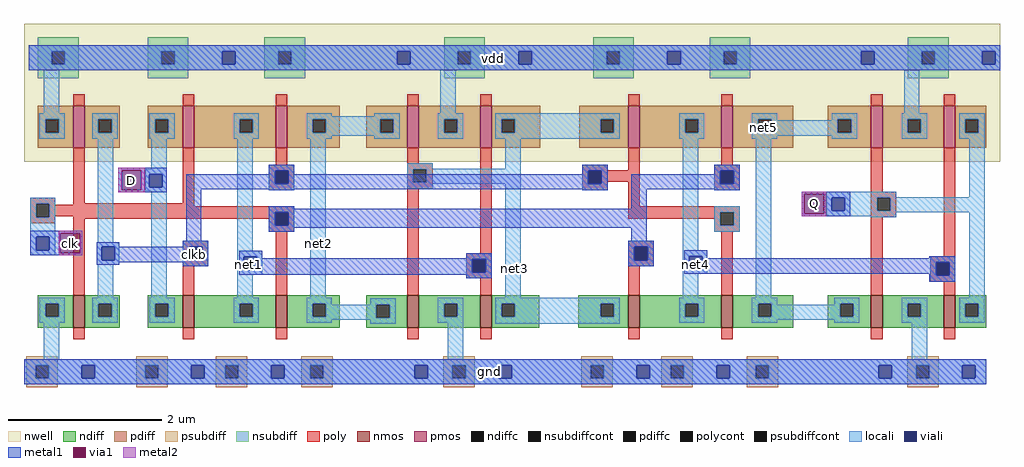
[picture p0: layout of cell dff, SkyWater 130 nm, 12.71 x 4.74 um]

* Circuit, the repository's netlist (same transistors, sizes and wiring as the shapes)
DFF
.lib "../../sky130_fd_pr/models/sky130.lib.spice" tt

XM1 clkb clk vdd vdd sky130_fd_pr__pfet_01v8 L=0.15 W=0.55
XM2 clkb clk gnd gnd sky130_fd_pr__nfet_01v8 L=0.15 W=0.42
XM3 1 clk D vdd sky130_fd_pr__pfet_01v8 L=0.15 W=0.55
XM4 1 clkb D gnd sky130_fd_pr__nfet_01v8 L=0.15 W=0.42 
XM5 2 1 vdd vdd sky130_fd_pr__pfet_01v8 L=0.15 W=0.55
XM6 2 1 gnd gnd sky130_fd_pr__nfet_01v8 L=0.15 W=0.42
XM7 3 2 vdd vdd sky130_fd_pr__pfet_01v8 L=0.15 W=0.55
XM8 3 2 gnd gnd sky130_fd_pr__nfet_01v8 L=0.15 W=0.42
XM9 1 clkb 3 vdd sky130_fd_pr__pfet_01v8 L=0.15 W=0.55
XM10 1 clk 3 gnd sky130_fd_pr__nfet_01v8 L=0.15 W=0.42
XM11 4 clkb 2 vdd sky130_fd_pr__pfet_01v8 L=0.15 W=0.55
XM12 4 clk 2 gnd sky130_fd_pr__nfet_01v8 L=0.15 W=0.42
XM13 Q 4 vdd vdd sky130_fd_pr__pfet_01v8 L=0.15 W=0.55
XM14 Q 4 gnd gnd sky130_fd_pr__nfet_01v8 L=0.15 W=0.42
XM15 5 Q vdd vdd sky130_fd_pr__pfet_01v8 L=0.15 W=0.55
XM16 5 Q gnd gnd sky130_fd_pr__nfet_01v8 L=0.15 W=0.42
XM17 4 clk 5 vdd sky130_fd_pr__pfet_01v8 L=0.15 W=0.55
XM18 4 clkb 5 gnd sky130_fd_pr__nfet_01v8 L=0.15 W=0.42

V1 vdd gnd dc 1.8V
V2 D gnd pulse 0 1.8 2.5ns 60ps 60ps 15ns 30ns
V3 clk gnd pulse 0 1.8 0 60ps 60ps 5ns 10ns

.tran 0.1ns 100ns
.control 
run
plot V(Q) V(D)+2 V(clk)+4
.endc
.end

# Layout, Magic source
magic
tech sky130A
<< nwell >>
rect 0 273 1271 453
<< nmos >>
rect 64 57 79 99
rect 207 57 222 99
rect 328 57 343 99
rect 499 57 514 99
rect 594 57 609 99
rect 787 57 802 99
rect 908 57 923 99
rect 1103 57 1118 99
rect 1198 57 1213 99
<< pmos >>
rect 64 291 79 346
rect 207 291 222 346
rect 328 291 343 346
rect 499 291 514 346
rect 594 291 609 346
rect 787 291 802 346
rect 908 291 923 346
rect 1103 291 1118 346
rect 1198 291 1213 346
<< ndiff >>
rect 18 88 64 99
rect 18 71 28 88
rect 45 71 64 88
rect 18 57 64 71
rect 79 88 125 99
rect 79 71 97 88
rect 114 71 125 88
rect 79 57 125 71
rect 161 88 207 99
rect 161 71 171 88
rect 188 71 207 88
rect 161 57 207 71
rect 222 88 328 99
rect 222 71 281 88
rect 298 71 328 88
rect 222 57 328 71
rect 343 88 411 99
rect 343 71 376 88
rect 393 71 411 88
rect 343 57 411 71
rect 446 87 499 99
rect 446 70 459 87
rect 476 70 499 87
rect 446 57 499 70
rect 514 88 594 99
rect 514 71 547 88
rect 564 71 594 88
rect 514 57 594 71
rect 609 88 671 99
rect 609 71 622 88
rect 639 71 671 88
rect 609 57 671 71
rect 722 88 787 99
rect 722 71 751 88
rect 768 71 787 88
rect 722 57 787 71
rect 802 88 908 99
rect 802 71 861 88
rect 878 71 908 88
rect 802 57 908 71
rect 923 88 1002 99
rect 923 71 956 88
rect 973 71 1002 88
rect 923 57 1002 71
rect 1047 88 1103 99
rect 1047 71 1063 88
rect 1080 71 1103 88
rect 1047 57 1103 71
rect 1118 88 1198 99
rect 1118 71 1151 88
rect 1168 71 1198 88
rect 1118 57 1198 71
rect 1213 88 1253 99
rect 1213 71 1226 88
rect 1243 71 1253 88
rect 1213 57 1253 71
<< pdiff >>
rect 18 328 64 346
rect 18 311 28 328
rect 45 311 64 328
rect 18 291 64 311
rect 79 328 125 346
rect 79 311 97 328
rect 114 311 125 328
rect 79 291 125 311
rect 161 328 207 346
rect 161 311 171 328
rect 188 311 207 328
rect 161 291 207 311
rect 222 328 328 346
rect 222 311 281 328
rect 298 311 328 328
rect 222 291 328 311
rect 343 328 411 346
rect 343 311 376 328
rect 393 311 411 328
rect 343 291 411 311
rect 446 328 499 346
rect 446 311 464 328
rect 481 311 499 328
rect 446 291 499 311
rect 514 328 594 346
rect 514 311 547 328
rect 564 311 594 328
rect 514 291 594 311
rect 609 328 672 346
rect 609 311 622 328
rect 639 311 672 328
rect 609 291 672 311
rect 723 328 787 346
rect 723 311 751 328
rect 768 311 787 328
rect 723 291 787 311
rect 802 328 908 346
rect 802 311 861 328
rect 878 311 908 328
rect 802 291 908 311
rect 923 328 1002 346
rect 923 311 956 328
rect 973 311 1002 328
rect 923 291 1002 311
rect 1047 328 1103 346
rect 1047 311 1060 328
rect 1077 311 1103 328
rect 1047 291 1103 311
rect 1118 328 1198 346
rect 1118 311 1151 328
rect 1168 311 1198 328
rect 1118 291 1198 311
rect 1213 328 1253 346
rect 1213 311 1226 328
rect 1243 311 1253 328
rect 1213 291 1253 311
<< ndiffc >>
rect 28 71 45 88
rect 97 71 114 88
rect 171 71 188 88
rect 281 71 298 88
rect 376 71 393 88
rect 459 70 476 87
rect 547 71 564 88
rect 622 71 639 88
rect 751 71 768 88
rect 861 71 878 88
rect 956 71 973 88
rect 1063 71 1080 88
rect 1151 71 1168 88
rect 1226 71 1243 88
<< pdiffc >>
rect 28 311 45 328
rect 97 311 114 328
rect 171 311 188 328
rect 281 311 298 328
rect 376 311 393 328
rect 464 311 481 328
rect 547 311 564 328
rect 622 311 639 328
rect 751 311 768 328
rect 861 311 878 328
rect 956 311 973 328
rect 1060 311 1077 328
rect 1151 311 1168 328
rect 1226 311 1243 328
<< psubdiff >>
rect 3 8 44 20
rect 3 -9 15 8
rect 32 -9 44 8
rect 3 -21 44 -9
rect 146 8 187 20
rect 146 -9 158 8
rect 175 -9 187 8
rect 146 -21 187 -9
rect 250 8 291 20
rect 250 -9 262 8
rect 279 -9 291 8
rect 250 -21 291 -9
rect 361 8 402 20
rect 361 -9 373 8
rect 390 -9 402 8
rect 361 -21 402 -9
rect 546 8 587 20
rect 546 -9 558 8
rect 575 -9 587 8
rect 546 -21 587 -9
rect 726 8 767 20
rect 726 -9 738 8
rect 755 -9 767 8
rect 726 -21 767 -9
rect 830 8 871 20
rect 830 -9 842 8
rect 859 -9 871 8
rect 830 -21 871 -9
rect 941 8 982 20
rect 941 -9 953 8
rect 970 -9 982 8
rect 941 -21 982 -9
rect 1150 8 1191 20
rect 1150 -9 1162 8
rect 1179 -9 1191 8
rect 1150 -21 1191 -9
<< nsubdiff >>
rect 18 417 71 435
rect 18 400 36 417
rect 53 400 71 417
rect 18 382 71 400
rect 161 417 214 435
rect 161 400 179 417
rect 196 400 214 417
rect 161 382 214 400
rect 313 417 366 435
rect 313 400 331 417
rect 348 400 366 417
rect 313 382 366 400
rect 547 417 600 435
rect 547 400 565 417
rect 582 400 600 417
rect 547 382 600 400
rect 741 417 794 435
rect 741 400 759 417
rect 776 400 794 417
rect 741 382 794 400
rect 893 417 946 435
rect 893 400 911 417
rect 928 400 946 417
rect 893 382 946 400
rect 1151 417 1204 435
rect 1151 400 1169 417
rect 1186 400 1204 417
rect 1151 382 1204 400
<< psubdiffcont >>
rect 15 -9 32 8
rect 158 -9 175 8
rect 262 -9 279 8
rect 373 -9 390 8
rect 558 -9 575 8
rect 738 -9 755 8
rect 842 -9 859 8
rect 953 -9 970 8
rect 1162 -9 1179 8
<< nsubdiffcont >>
rect 36 400 53 417
rect 179 400 196 417
rect 331 400 348 417
rect 565 400 582 417
rect 759 400 776 417
rect 911 400 928 417
rect 1169 400 1186 417
<< poly >>
rect 64 346 79 361
rect 207 346 222 361
rect 328 346 343 361
rect 499 346 514 361
rect 594 346 609 361
rect 787 346 802 361
rect 908 346 923 361
rect 1103 346 1118 361
rect 1198 346 1213 361
rect 8 218 41 226
rect 8 201 16 218
rect 33 217 41 218
rect 64 219 79 291
rect 207 219 222 291
rect 328 269 343 291
rect 499 271 514 291
rect 319 261 352 269
rect 319 244 327 261
rect 344 244 352 261
rect 319 236 352 244
rect 499 263 532 271
rect 499 246 507 263
rect 524 246 532 263
rect 499 238 532 246
rect 64 217 222 219
rect 33 215 222 217
rect 33 207 352 215
rect 33 202 327 207
rect 33 201 41 202
rect 8 193 41 201
rect 64 199 327 202
rect 64 99 79 199
rect 319 190 327 199
rect 344 190 352 207
rect 319 182 352 190
rect 207 162 240 170
rect 207 145 215 162
rect 232 145 240 162
rect 207 137 240 145
rect 207 99 222 137
rect 328 99 343 182
rect 499 99 514 238
rect 594 154 609 291
rect 727 262 760 269
rect 787 262 802 291
rect 908 269 923 291
rect 727 261 802 262
rect 727 244 735 261
rect 752 247 802 261
rect 752 244 760 247
rect 727 236 760 244
rect 787 215 802 247
rect 899 261 932 269
rect 899 244 907 261
rect 924 244 932 261
rect 899 236 932 244
rect 1103 234 1118 291
rect 1103 226 1136 234
rect 787 207 932 215
rect 787 199 907 207
rect 899 190 907 199
rect 924 190 932 207
rect 899 182 932 190
rect 1103 209 1111 226
rect 1128 209 1136 226
rect 1103 201 1136 209
rect 576 146 609 154
rect 576 129 584 146
rect 601 129 609 146
rect 576 121 609 129
rect 594 99 609 121
rect 787 162 820 170
rect 787 145 795 162
rect 812 145 820 162
rect 787 137 820 145
rect 787 99 802 137
rect 908 99 923 182
rect 1103 99 1118 201
rect 1198 150 1213 291
rect 1180 142 1213 150
rect 1180 125 1188 142
rect 1205 125 1213 142
rect 1180 117 1213 125
rect 1198 99 1213 117
rect 64 42 79 57
rect 207 42 222 57
rect 328 42 343 57
rect 499 42 514 57
rect 594 42 609 57
rect 787 42 802 57
rect 908 42 923 57
rect 1103 42 1118 57
rect 1198 42 1213 57
<< polycont >>
rect 16 201 33 218
rect 327 244 344 261
rect 507 246 524 263
rect 327 190 344 207
rect 215 145 232 162
rect 735 244 752 261
rect 907 244 924 261
rect 907 190 924 207
rect 1111 209 1128 226
rect 584 129 601 146
rect 795 145 812 162
rect 1188 125 1205 142
<< locali >>
rect 6 417 1271 425
rect 6 400 36 417
rect 53 400 179 417
rect 196 400 258 417
rect 275 400 331 417
rect 348 400 486 417
rect 503 400 565 417
rect 582 400 644 417
rect 661 400 759 417
rect 776 400 838 417
rect 855 400 911 417
rect 928 400 1090 417
rect 1107 400 1169 417
rect 1186 400 1248 417
rect 1265 400 1271 417
rect 6 392 1271 400
rect 26 336 46 392
rect 542 336 562 392
rect 1146 336 1166 392
rect 20 328 53 336
rect 20 311 28 328
rect 45 311 53 328
rect 20 303 53 311
rect 89 328 122 336
rect 89 311 97 328
rect 114 311 122 328
rect 89 303 122 311
rect 163 328 196 336
rect 163 311 171 328
rect 188 311 196 328
rect 163 303 196 311
rect 273 328 306 336
rect 273 311 281 328
rect 298 311 306 328
rect 273 303 306 311
rect 368 332 401 336
rect 456 332 489 336
rect 368 328 489 332
rect 368 311 376 328
rect 393 311 464 328
rect 481 311 489 328
rect 368 307 489 311
rect 368 303 401 307
rect 456 303 489 307
rect 539 328 572 336
rect 539 311 547 328
rect 564 311 572 328
rect 539 303 572 311
rect 614 328 776 336
rect 614 311 622 328
rect 639 311 751 328
rect 768 311 776 328
rect 614 303 776 311
rect 853 328 886 336
rect 853 311 861 328
rect 878 311 886 328
rect 853 303 886 311
rect 948 328 981 336
rect 948 311 956 328
rect 973 327 981 328
rect 1052 328 1085 336
rect 1052 327 1060 328
rect 973 311 1060 327
rect 1077 311 1085 328
rect 948 307 1085 311
rect 948 303 981 307
rect 1052 303 1085 307
rect 1143 328 1176 336
rect 1143 311 1151 328
rect 1168 311 1176 328
rect 1143 303 1176 311
rect 1218 328 1251 336
rect 1218 311 1226 328
rect 1243 311 1251 328
rect 1218 303 1251 311
rect 8 218 41 226
rect 8 201 16 218
rect 33 201 41 218
rect 8 175 41 201
rect 8 158 16 175
rect 33 158 41 175
rect 96 168 116 303
rect 166 263 186 303
rect 158 257 186 263
rect 158 240 163 257
rect 180 240 186 257
rect 158 235 186 240
rect 8 151 41 158
rect 95 162 124 168
rect 95 145 101 162
rect 118 145 124 162
rect 95 139 124 145
rect 96 96 116 139
rect 166 96 186 235
rect 207 162 240 170
rect 207 145 215 162
rect 232 145 240 162
rect 207 137 240 145
rect 278 157 298 303
rect 319 261 352 269
rect 319 244 327 261
rect 344 244 352 261
rect 319 236 352 244
rect 319 207 352 215
rect 319 190 327 207
rect 344 190 352 207
rect 319 182 352 190
rect 278 149 310 157
rect 278 132 286 149
rect 303 132 310 149
rect 278 126 310 132
rect 278 96 298 126
rect 373 96 393 303
rect 499 264 532 271
rect 627 264 647 303
rect 499 263 647 264
rect 499 246 507 263
rect 524 246 647 263
rect 499 244 647 246
rect 499 238 532 244
rect 576 146 609 154
rect 576 129 584 146
rect 601 129 609 146
rect 576 121 609 129
rect 627 96 647 244
rect 727 261 760 269
rect 727 244 735 261
rect 752 244 760 261
rect 727 236 760 244
rect 787 162 820 170
rect 787 145 795 162
rect 812 145 820 162
rect 787 137 820 145
rect 858 158 878 303
rect 899 261 932 269
rect 899 244 907 261
rect 924 244 932 261
rect 899 236 932 244
rect 899 207 932 215
rect 899 190 907 207
rect 924 190 932 207
rect 899 182 932 190
rect 858 150 890 158
rect 858 133 866 150
rect 883 133 890 150
rect 858 127 890 133
rect 858 96 878 127
rect 953 96 973 303
rect 1045 227 1136 234
rect 1231 227 1251 303
rect 1045 226 1251 227
rect 1045 209 1052 226
rect 1069 209 1111 226
rect 1128 209 1251 226
rect 1045 207 1251 209
rect 1045 202 1136 207
rect 1103 201 1136 202
rect 1180 142 1213 150
rect 1180 125 1188 142
rect 1205 125 1213 142
rect 1180 117 1213 125
rect 1231 96 1251 207
rect 20 88 53 96
rect 20 71 28 88
rect 45 71 53 88
rect 20 63 53 71
rect 89 88 122 96
rect 89 71 97 88
rect 114 71 122 88
rect 89 63 122 71
rect 163 88 196 96
rect 163 71 171 88
rect 188 71 196 88
rect 163 63 196 71
rect 273 88 306 96
rect 273 71 281 88
rect 298 71 306 88
rect 273 63 306 71
rect 368 88 401 96
rect 368 71 376 88
rect 393 87 401 88
rect 451 87 484 95
rect 393 71 459 87
rect 368 70 459 71
rect 476 70 484 87
rect 368 67 484 70
rect 368 63 401 67
rect 26 16 46 63
rect 451 62 484 67
rect 539 88 572 96
rect 539 71 547 88
rect 564 71 572 88
rect 539 63 572 71
rect 552 16 572 63
rect 614 88 776 96
rect 614 71 622 88
rect 639 71 751 88
rect 768 71 776 88
rect 614 62 776 71
rect 853 88 886 96
rect 853 71 861 88
rect 878 71 886 88
rect 853 63 886 71
rect 948 88 981 96
rect 948 71 956 88
rect 973 87 981 88
rect 1055 88 1088 96
rect 1055 87 1063 88
rect 973 71 1063 87
rect 1080 71 1088 88
rect 948 67 1088 71
rect 948 63 981 67
rect 1055 63 1088 67
rect 1143 88 1176 96
rect 1143 71 1151 88
rect 1168 71 1176 88
rect 1143 63 1176 71
rect 1218 88 1251 96
rect 1218 71 1226 88
rect 1243 71 1251 88
rect 1218 63 1251 71
rect 1156 16 1176 63
rect 0 8 1253 16
rect 0 -9 15 8
rect 32 -9 75 8
rect 92 -9 158 8
rect 175 -9 218 8
rect 235 -9 262 8
rect 279 -9 322 8
rect 339 -9 373 8
rect 390 -9 509 8
rect 526 -9 558 8
rect 575 -9 618 8
rect 635 -9 738 8
rect 755 -9 798 8
rect 815 -9 842 8
rect 859 -9 902 8
rect 919 -9 953 8
rect 970 -9 1113 8
rect 1130 -9 1162 8
rect 1179 -9 1222 8
rect 1239 -9 1253 8
rect 0 -17 1253 -9
<< viali >>
rect 258 400 275 417
rect 486 400 503 417
rect 644 400 661 417
rect 838 400 855 417
rect 1090 400 1107 417
rect 1248 400 1265 417
rect 16 158 33 175
rect 163 240 180 257
rect 101 145 118 162
rect 215 145 232 162
rect 327 244 344 261
rect 327 190 344 207
rect 286 132 303 149
rect 584 129 601 146
rect 735 244 752 261
rect 795 145 812 162
rect 907 244 924 261
rect 866 133 883 150
rect 1052 209 1069 226
rect 1188 125 1205 142
rect 75 -9 92 8
rect 218 -9 235 8
rect 322 -9 339 8
rect 509 -9 526 8
rect 618 -9 635 8
rect 798 -9 815 8
rect 902 -9 919 8
rect 1113 -9 1130 8
rect 1222 -9 1239 8
<< metal1 >>
rect 6 417 1271 425
rect 6 400 258 417
rect 275 400 486 417
rect 503 400 644 417
rect 661 400 838 417
rect 855 400 1090 417
rect 1107 400 1248 417
rect 1265 400 1271 417
rect 6 392 1271 400
rect 123 262 186 265
rect 123 236 127 262
rect 153 257 186 262
rect 319 261 352 269
rect 319 257 327 261
rect 153 240 163 257
rect 180 240 186 257
rect 153 236 186 240
rect 123 233 186 236
rect 211 244 327 257
rect 344 257 352 261
rect 727 261 760 269
rect 727 257 735 261
rect 344 244 735 257
rect 752 244 760 261
rect 899 261 932 269
rect 899 257 907 261
rect 211 237 760 244
rect 8 180 76 183
rect 8 175 47 180
rect 8 158 16 175
rect 33 158 47 175
rect 8 154 47 158
rect 73 154 76 180
rect 211 170 231 237
rect 319 236 352 237
rect 727 236 760 237
rect 791 244 907 257
rect 924 244 932 261
rect 791 237 932 244
rect 319 212 352 215
rect 791 212 811 237
rect 899 236 932 237
rect 319 207 811 212
rect 319 190 327 207
rect 344 190 811 207
rect 1013 231 1076 234
rect 1013 205 1016 231
rect 1042 226 1076 231
rect 1042 209 1052 226
rect 1069 209 1076 226
rect 1042 205 1076 209
rect 1013 202 1076 205
rect 319 187 811 190
rect 319 182 352 187
rect 791 170 811 187
rect 8 151 76 154
rect 95 162 124 168
rect 207 162 240 170
rect 95 145 101 162
rect 118 145 215 162
rect 232 145 240 162
rect 787 162 820 170
rect 95 142 240 145
rect 95 139 124 142
rect 207 137 240 142
rect 280 149 310 157
rect 280 132 286 149
rect 303 147 310 149
rect 576 147 609 154
rect 303 146 609 147
rect 303 132 584 146
rect 280 129 584 132
rect 601 129 609 146
rect 787 145 795 162
rect 812 145 820 162
rect 787 137 820 145
rect 860 150 890 158
rect 280 126 609 129
rect 860 133 866 150
rect 883 147 890 150
rect 1179 147 1213 150
rect 883 142 1213 147
rect 883 133 1188 142
rect 860 127 1188 133
rect 576 121 609 126
rect 1179 125 1188 127
rect 1205 125 1213 142
rect 1179 117 1213 125
rect 0 8 1253 16
rect 0 -9 75 8
rect 92 -9 218 8
rect 235 -9 322 8
rect 339 -9 509 8
rect 526 -9 618 8
rect 635 -9 798 8
rect 815 -9 902 8
rect 919 -9 1113 8
rect 1130 -9 1222 8
rect 1239 -9 1253 8
rect 0 -17 1253 -9
<< via1 >>
rect 127 236 153 262
rect 47 154 73 180
rect 1016 205 1042 231
<< metal2 >>
rect 123 262 157 265
rect 123 236 127 262
rect 153 236 157 262
rect 123 233 157 236
rect 1013 231 1045 234
rect 1013 205 1016 231
rect 1042 205 1045 231
rect 1013 202 1045 205
rect 45 180 76 183
rect 45 154 47 180
rect 73 154 76 180
rect 45 151 76 154
<< labels >>
flabel metal2 s 127 236 153 262 0 FreeSans 400 0 0 0 D
port 0 nsew
flabel locali s 289 136 297 143 0 FreeSans 200 0 0 0 net1
flabel locali s 379 162 387 170 0 FreeSans 200 0 0 0 net2
flabel metal1 s 539 -17 674 16 0 FreeSans 400 0 0 0 gnd
port 4 nsew
flabel locali s 635 130 643 138 0 FreeSans 200 0 0 0 net3
flabel locali s 871 136 879 143 0 FreeSans 200 0 0 0 net4
flabel locali s 958 312 968 324 0 FreeSans 200 0 0 0 net5
flabel locali s 217 146 228 159 0 FreeSans 240 0 0 0 clkb
flabel metal2 s 1016 205 1042 231 0 FreeSans 400 0 0 0 Q
port 1 nsew
flabel metal2 s 47 154 73 180 0 FreeSans 200 0 0 0 clk
port 2 nsew
flabel metal1 s 592 398 631 418 0 FreeSans 400 0 0 0 vdd
port 3 nsew
<< properties >>
string FIXED_BBOX 0 0 1271 409
<< end >>
